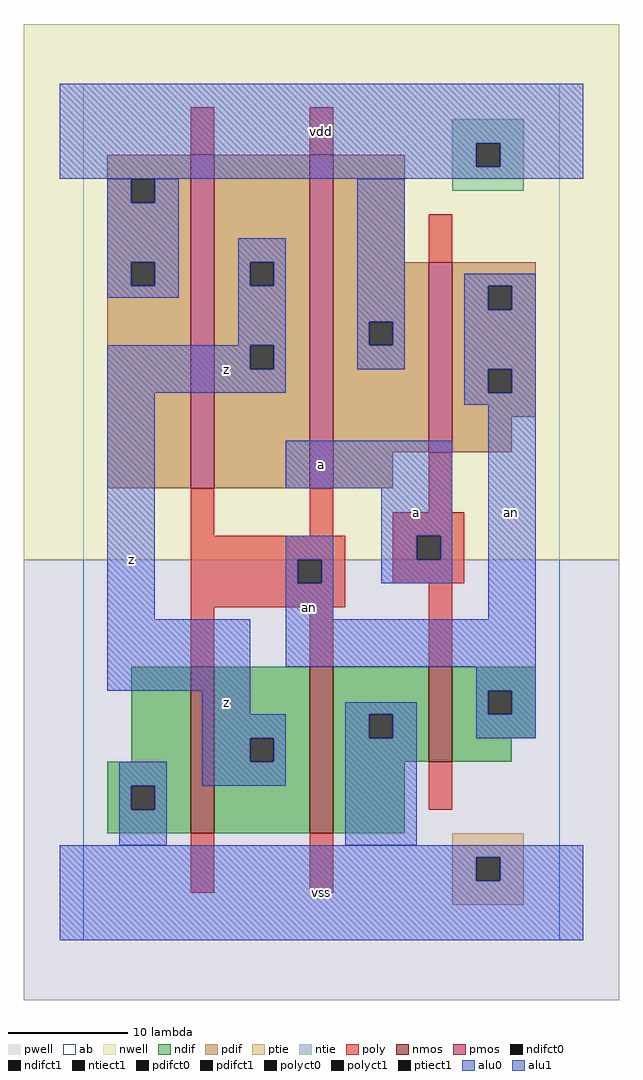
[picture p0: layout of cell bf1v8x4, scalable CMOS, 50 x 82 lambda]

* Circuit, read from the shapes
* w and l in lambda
.subckt bf1v8x4 a an vdd vss z
M1 z an vss vss nfet w=14 l=2 m=2
M2 an a vss vss nfet w=8 l=2
M3 z an vdd vdd pfet w=28 l=2 m=2
M4 an a vdd vdd pfet w=16 l=2
.ends

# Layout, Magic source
magic
tech scmos
<< ab >>
rect 0 0 40 72
<< nwell >>
rect -5 32 45 77
<< pwell >>
rect -5 -5 45 32
<< poly >>
rect 9 66 11 70
rect 19 66 21 70
rect 29 57 31 61
rect 9 34 11 38
rect 19 34 21 38
rect 29 36 31 41
rect 26 34 32 36
rect 9 32 22 34
rect 9 30 18 32
rect 20 30 22 32
rect 26 32 28 34
rect 30 32 32 34
rect 26 30 32 32
rect 9 28 22 30
rect 9 23 11 28
rect 19 23 21 28
rect 29 23 31 30
rect 29 11 31 15
rect 9 4 11 9
rect 19 4 21 9
<< ndif >>
rect 4 15 9 23
rect 2 13 9 15
rect 2 11 4 13
rect 6 11 9 13
rect 2 9 9 11
rect 11 17 19 23
rect 11 15 14 17
rect 16 15 19 17
rect 11 9 19 15
rect 21 19 29 23
rect 21 17 24 19
rect 26 17 29 19
rect 21 15 29 17
rect 31 21 38 23
rect 31 19 34 21
rect 36 19 38 21
rect 31 17 38 19
rect 31 15 36 17
rect 21 9 27 15
<< pdif >>
rect 2 64 9 66
rect 2 62 4 64
rect 6 62 9 64
rect 2 57 9 62
rect 2 55 4 57
rect 6 55 9 57
rect 2 38 9 55
rect 11 57 19 66
rect 11 55 14 57
rect 16 55 19 57
rect 11 50 19 55
rect 11 48 14 50
rect 16 48 19 50
rect 11 38 19 48
rect 21 57 27 66
rect 21 52 29 57
rect 21 50 24 52
rect 26 50 29 52
rect 21 41 29 50
rect 31 55 38 57
rect 31 53 34 55
rect 36 53 38 55
rect 31 48 38 53
rect 31 46 34 48
rect 36 46 38 48
rect 31 44 38 46
rect 31 41 36 44
rect 21 38 26 41
<< alu1 >>
rect -2 67 42 72
rect -2 65 33 67
rect 35 65 42 67
rect -2 64 42 65
rect 13 57 17 59
rect 13 55 14 57
rect 16 55 17 57
rect 13 50 17 55
rect 2 48 14 50
rect 16 48 17 50
rect 2 46 17 48
rect 2 27 6 46
rect 17 38 31 42
rect 25 34 31 38
rect 25 32 28 34
rect 30 32 31 34
rect 25 30 31 32
rect 2 21 14 27
rect 10 19 14 21
rect 10 17 17 19
rect 10 15 14 17
rect 16 15 17 17
rect 10 13 17 15
rect -2 7 42 8
rect -2 5 33 7
rect 35 5 42 7
rect -2 0 42 5
<< ptie >>
rect 31 7 37 9
rect 31 5 33 7
rect 35 5 37 7
rect 31 3 37 5
<< ntie >>
rect 31 67 37 69
rect 31 65 33 67
rect 35 65 37 67
rect 31 63 37 65
<< nmos >>
rect 9 9 11 23
rect 19 9 21 23
rect 29 15 31 23
<< pmos >>
rect 9 38 11 66
rect 19 38 21 66
rect 29 41 31 57
<< polyct0 >>
rect 18 30 20 32
<< polyct1 >>
rect 28 32 30 34
<< ndifct0 >>
rect 4 11 6 13
rect 24 17 26 19
rect 34 19 36 21
<< ndifct1 >>
rect 14 15 16 17
<< ntiect1 >>
rect 33 65 35 67
<< ptiect1 >>
rect 33 5 35 7
<< pdifct0 >>
rect 4 62 6 64
rect 4 55 6 57
rect 24 50 26 52
rect 34 53 36 55
rect 34 46 36 48
<< pdifct1 >>
rect 14 55 16 57
rect 14 48 16 50
<< alu0 >>
rect 2 62 4 64
rect 6 62 8 64
rect 2 57 8 62
rect 2 55 4 57
rect 6 55 8 57
rect 2 54 8 55
rect 23 52 27 64
rect 23 50 24 52
rect 26 50 27 52
rect 23 48 27 50
rect 32 55 38 56
rect 32 53 34 55
rect 36 53 38 55
rect 32 48 38 53
rect 32 46 34 48
rect 36 46 38 48
rect 32 45 38 46
rect 17 32 21 34
rect 17 30 18 32
rect 20 30 21 32
rect 17 27 21 30
rect 34 27 38 45
rect 17 23 38 27
rect 33 21 38 23
rect 22 19 28 20
rect 3 13 7 15
rect 22 17 24 19
rect 26 17 28 19
rect 33 19 34 21
rect 36 19 38 21
rect 33 17 38 19
rect 3 11 4 13
rect 6 11 7 13
rect 3 8 7 11
rect 22 8 28 17
<< labels >>
rlabel alu0 19 28 19 28 6 an
rlabel alu0 36 36 36 36 6 an
rlabel alu1 4 32 4 32 6 z
rlabel alu1 12 20 12 20 6 z
rlabel alu1 12 48 12 48 6 z
rlabel alu1 20 4 20 4 6 vss
rlabel alu1 28 36 28 36 6 a
rlabel alu1 20 40 20 40 6 a
rlabel alu1 20 68 20 68 6 vdd
<< end >>
